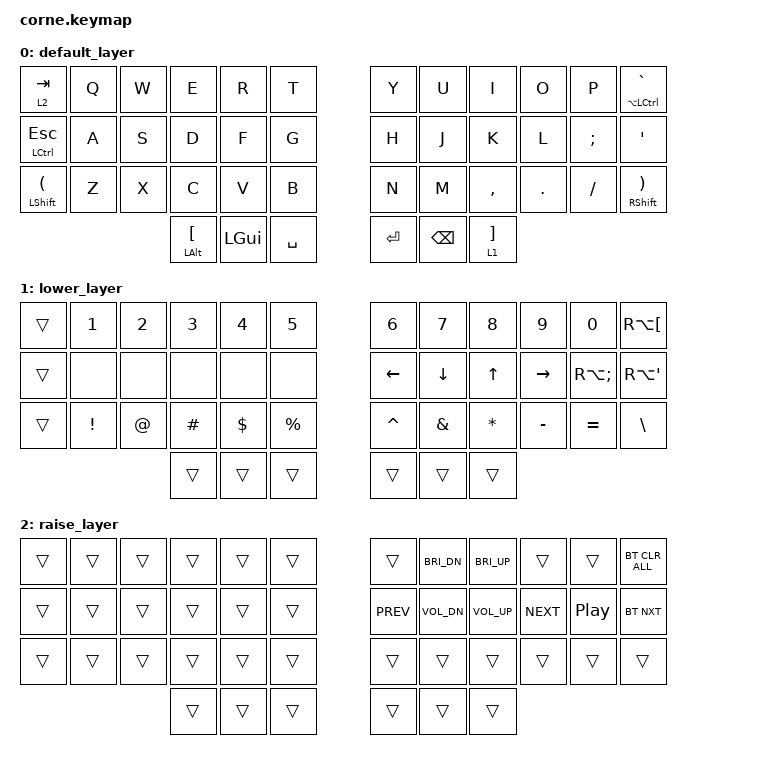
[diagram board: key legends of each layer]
/*
 * Copyright (c) 2020 The ZMK Contributors
 *
 * SPDX-License-Identifier: MIT
 */

#include <behaviors.dtsi>
#include <dt-bindings/zmk/keys.h>
#include <dt-bindings/zmk/bt.h>

/ {
        keymap {
                compatible = "zmk,keymap";

                default_layer {
                        bindings = <
   &lt 2 TAB &kp Q &kp W &kp E &kp R &kp T   &kp Y &kp U  &kp I     &kp O   &kp P &mt LA(LCTRL) GRAVE
   &mt LCTRL ESC &kp A &kp S &kp D &kp F &kp G   &kp H &kp J  &kp K     &kp L     &kp SEMI &kp QUOT
   &mt LSHFT LPAR &kp Z &kp X &kp C &kp V &kp B   &kp N &kp M  &kp COMMA &kp DOT  &kp FSLH &mt RSHFT RPAR
                &mt LALT LBKT &kp LGUI &kp SPACE   &kp RET &kp BSPC &lt 1 RBKT
                        >;
                };

                lower_layer {
                        bindings = <
   &trans  &kp N1   &kp N2 &kp N3   &kp N4   &kp N5    &kp N6    &kp N7   &kp N8    &kp N9    &kp N0       &kp RA(LBKT)
   &trans  &none    &none  &none    &none    &none     &kp LEFT  &kp DOWN &kp UP    &kp RIGHT &kp RA(SEMI) &kp RA(QUOT)
   &trans  &kp EXCL &kp AT &kp HASH &kp DLLR &kp PRCNT &kp CARET &kp AMPS &kp ASTRK &kp MINUS &kp EQUAL    &kp BSLH
                &trans &trans &trans      &trans &trans &trans
                        >;
                };

                raise_layer {
                        bindings = <
    &trans &trans &trans &trans &trans &trans       &trans     &kp C_BRI_DN &kp C_BRI_UP &trans     &trans   &bt BT_CLR_ALL
    &trans &trans &trans &trans &trans &trans       &kp C_PREV &kp K_VOL_DN &kp K_VOL_UP &kp C_NEXT &kp C_PP &bt BT_NXT
    &trans &trans &trans &trans &trans &trans       &trans     &trans       &trans       &trans     &trans   &trans
                         &trans &trans &trans       &trans &trans &trans
                        >;
                };
        };
};

/ {
    combos {
        compatible = "zmk,combos";
        combo_caps {
            timeout-ms = <50>;
            key-positions = <24 35>;
            bindings = <&caps_word>;
        };
    };
};
